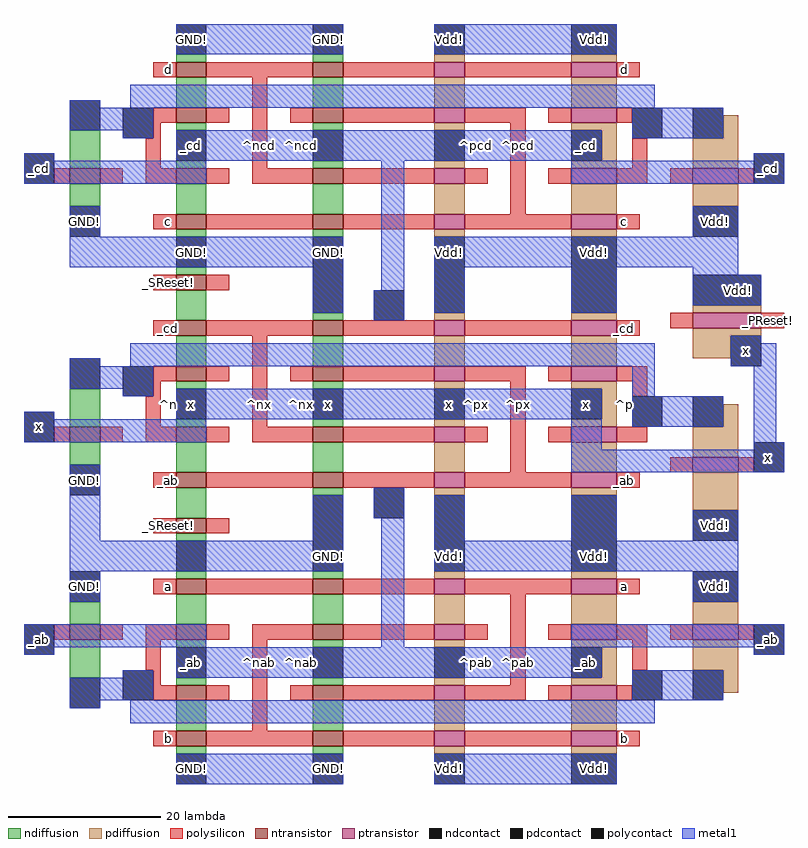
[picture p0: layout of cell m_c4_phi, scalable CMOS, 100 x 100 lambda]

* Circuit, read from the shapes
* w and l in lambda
.subckt m_c4_phi GND! Vdd! _PReset! _SReset! _ab _cd a b c d x
M1 GND! _ab n1 VSUBS nfet w=4 l=2
M2 n2 x GND! VSUBS nfet w=4 l=2
M3 n3 _cd GND! VSUBS nfet w=4 l=2
M4 n4 b GND! VSUBS nfet w=4 l=2
M5 _ab n1 n4 VSUBS nfet w=4 l=2
M6 n5 n1 _ab VSUBS nfet w=4 l=2
M7 GND! a n5 VSUBS nfet w=4 l=2
M8 n6 _SReset! GND! VSUBS nfet w=4 l=2
M9 n7 _ab n6 VSUBS nfet w=4 l=2
M10 x n2 n7 VSUBS nfet w=4 l=2
M11 n8 n2 x VSUBS nfet w=4 l=2
M12 n9 _cd n8 VSUBS nfet w=4 l=2
M13 GND! _SReset! n9 VSUBS nfet w=4 l=2
M14 n10 c GND! VSUBS nfet w=4 l=2
M15 _cd n3 n10 VSUBS nfet w=4 l=2
M16 n11 n3 _cd VSUBS nfet w=4 l=2
M17 GND! d n11 VSUBS nfet w=4 l=2
M18 n12 b GND! VSUBS nfet w=4 l=2
M19 _ab a n12 VSUBS nfet w=4 l=2
M20 n13 b _ab VSUBS nfet w=4 l=2
M21 GND! a n13 VSUBS nfet w=4 l=2
M22 n14 _ab GND! VSUBS nfet w=4 l=2
M23 x _cd n14 VSUBS nfet w=4 l=2
M24 n15 _ab x VSUBS nfet w=4 l=2
M25 GND! _cd n15 VSUBS nfet w=4 l=2
M26 n16 c GND! VSUBS nfet w=4 l=2
M27 _cd d n16 VSUBS nfet w=4 l=2
M28 n17 c _cd VSUBS nfet w=4 l=2
M29 GND! d n17 VSUBS nfet w=4 l=2
M30 n18 b Vdd! NWELL pfet w=4 l=2
M31 _ab a n18 NWELL pfet w=4 l=2
M32 n19 b _ab NWELL pfet w=4 l=2
M33 Vdd! a n19 NWELL pfet w=4 l=2
M34 n20 _ab Vdd! NWELL pfet w=4 l=2
M35 x _cd n20 NWELL pfet w=4 l=2
M36 n21 _ab x NWELL pfet w=4 l=2
M37 Vdd! _cd n21 NWELL pfet w=4 l=2
M38 n22 c Vdd! NWELL pfet w=4 l=2
M39 _cd d n22 NWELL pfet w=4 l=2
M40 n23 c _cd NWELL pfet w=4 l=2
M41 Vdd! d n23 NWELL pfet w=4 l=2
M42 n24 b Vdd! NWELL pfet w=6 l=2
M43 _ab n1 n24 NWELL pfet w=6 l=2
M44 n25 n1 _ab NWELL pfet w=6 l=2
M45 Vdd! a n25 NWELL pfet w=6 l=2
M46 n26 _ab Vdd! NWELL pfet w=6 l=2
M47 x n2 n26 NWELL pfet w=6 l=2
M48 n27 n2 x NWELL pfet w=6 l=2
M49 Vdd! _cd n27 NWELL pfet w=6 l=2
M50 n28 c Vdd! NWELL pfet w=6 l=2
M51 _cd n3 n28 NWELL pfet w=6 l=2
M52 n29 n3 _cd NWELL pfet w=6 l=2
M53 Vdd! d n29 NWELL pfet w=6 l=2
M54 Vdd! _ab n1 NWELL pfet w=6 l=2
M55 n2 x Vdd! NWELL pfet w=6 l=2
M56 Vdd! _PReset! x NWELL pfet w=9 l=2
M57 n3 _cd Vdd! NWELL pfet w=6 l=2
.ends

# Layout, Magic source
magic
tech scmos
<< ndiffusion >>
rect 11 138 15 139
rect 29 138 33 139
rect 11 132 15 136
rect -3 124 1 129
rect 11 129 15 130
rect 11 124 15 125
rect 29 132 33 136
rect 29 129 33 130
rect 29 124 33 125
rect -3 119 1 122
rect 11 118 15 122
rect 29 118 33 122
rect 11 115 15 116
rect 11 110 15 111
rect 29 115 33 116
rect 11 104 15 108
rect 29 104 33 105
rect 11 98 15 102
rect -3 90 1 95
rect 11 95 15 96
rect 11 90 15 91
rect 29 98 33 102
rect 29 95 33 96
rect 29 90 33 91
rect -3 85 1 88
rect 11 84 15 88
rect 29 84 33 88
rect 11 78 15 82
rect 29 81 33 82
rect 11 75 15 76
rect 11 70 15 71
rect 29 70 33 71
rect -3 64 1 67
rect 11 64 15 68
rect 29 64 33 68
rect -3 57 1 62
rect 11 61 15 62
rect 11 56 15 57
rect 11 50 15 54
rect 29 61 33 62
rect 29 56 33 57
rect 29 50 33 54
rect 11 47 15 48
rect 29 47 33 48
<< pdiffusion >>
rect 45 138 49 139
rect 63 138 69 139
rect 45 132 49 136
rect 63 132 69 136
rect 45 129 49 130
rect 45 124 49 125
rect 45 118 49 122
rect 63 129 69 130
rect 67 125 69 129
rect 63 124 69 125
rect 83 128 85 131
rect 79 124 85 128
rect 63 118 69 122
rect 79 119 85 122
rect 45 115 49 116
rect 45 104 49 105
rect 63 115 69 116
rect 79 105 88 106
rect 63 104 69 105
rect 79 102 88 103
rect 45 98 49 102
rect 63 98 69 102
rect 79 99 84 102
rect 45 95 49 96
rect 45 90 49 91
rect 45 84 49 88
rect 63 95 69 96
rect 67 91 69 95
rect 63 90 69 91
rect 83 90 85 93
rect 63 84 69 88
rect 79 86 85 90
rect 45 81 49 82
rect 45 70 49 71
rect 63 81 69 82
rect 79 79 85 84
rect 63 70 69 71
rect 45 64 49 68
rect 45 61 49 62
rect 45 56 49 57
rect 63 64 69 68
rect 79 64 85 67
rect 63 61 69 62
rect 67 57 69 61
rect 63 56 69 57
rect 79 58 85 62
rect 83 55 85 58
rect 45 50 49 54
rect 63 50 69 54
rect 45 47 49 48
rect 63 47 69 48
<< ntransistor >>
rect 11 136 15 138
rect 29 136 33 138
rect 11 130 15 132
rect 29 130 33 132
rect -3 122 1 124
rect 11 122 15 124
rect 29 122 33 124
rect 11 116 15 118
rect 29 116 33 118
rect 11 108 15 110
rect 11 102 15 104
rect 29 102 33 104
rect 11 96 15 98
rect 29 96 33 98
rect -3 88 1 90
rect 11 88 15 90
rect 29 88 33 90
rect 11 82 15 84
rect 29 82 33 84
rect 11 76 15 78
rect 11 68 15 70
rect 29 68 33 70
rect -3 62 1 64
rect 11 62 15 64
rect 29 62 33 64
rect 11 54 15 56
rect 29 54 33 56
rect 11 48 15 50
rect 29 48 33 50
<< ptransistor >>
rect 45 136 49 138
rect 63 136 69 138
rect 45 130 49 132
rect 63 130 69 132
rect 45 122 49 124
rect 63 122 69 124
rect 79 122 85 124
rect 45 116 49 118
rect 63 116 69 118
rect 45 102 49 104
rect 63 102 69 104
rect 79 103 88 105
rect 45 96 49 98
rect 63 96 69 98
rect 45 88 49 90
rect 63 88 69 90
rect 79 84 85 86
rect 45 82 49 84
rect 63 82 69 84
rect 45 68 49 70
rect 63 68 69 70
rect 45 62 49 64
rect 63 62 69 64
rect 79 62 85 64
rect 45 54 49 56
rect 63 54 69 56
rect 45 48 49 50
rect 63 48 69 50
<< polysilicon >>
rect 8 136 11 138
rect 15 136 29 138
rect 33 136 45 138
rect 49 136 63 138
rect 69 136 72 138
rect 8 130 11 132
rect 15 130 18 132
rect 8 128 9 130
rect 7 124 9 128
rect 21 124 23 136
rect 26 130 29 132
rect 33 130 45 132
rect 49 130 57 132
rect 60 130 63 132
rect 69 130 71 132
rect -5 122 -3 124
rect 1 122 4 124
rect 7 122 11 124
rect 15 122 18 124
rect 21 122 29 124
rect 33 122 45 124
rect 49 122 52 124
rect 55 118 57 130
rect 71 124 73 128
rect 60 122 63 124
rect 69 122 73 124
rect 76 122 79 124
rect 85 122 87 124
rect 8 116 11 118
rect 15 116 29 118
rect 33 116 45 118
rect 49 116 63 118
rect 69 116 72 118
rect 8 108 11 110
rect 15 108 18 110
rect 8 102 11 104
rect 15 102 29 104
rect 33 102 45 104
rect 49 102 63 104
rect 69 102 72 104
rect 76 103 79 105
rect 88 103 91 105
rect 8 96 11 98
rect 15 96 18 98
rect 8 94 9 96
rect 7 90 9 94
rect 21 90 23 102
rect 26 96 29 98
rect 33 96 45 98
rect 49 96 57 98
rect 60 96 63 98
rect 69 96 73 98
rect -5 88 -3 90
rect 1 88 4 90
rect 7 88 11 90
rect 15 88 18 90
rect 21 88 29 90
rect 33 88 45 90
rect 49 88 52 90
rect 55 84 57 96
rect 71 94 73 96
rect 60 88 63 90
rect 69 88 73 90
rect 76 84 79 86
rect 85 84 87 86
rect 8 82 11 84
rect 15 82 29 84
rect 33 82 45 84
rect 49 82 63 84
rect 69 82 72 84
rect 8 76 11 78
rect 15 76 18 78
rect 8 68 11 70
rect 15 68 29 70
rect 33 68 45 70
rect 49 68 63 70
rect 69 68 72 70
rect -5 62 -3 64
rect 1 62 4 64
rect 7 62 11 64
rect 15 62 18 64
rect 21 62 29 64
rect 33 62 45 64
rect 49 62 52 64
rect 7 58 9 62
rect 8 56 9 58
rect 8 54 11 56
rect 15 54 18 56
rect 21 50 23 62
rect 55 56 57 68
rect 60 62 63 64
rect 69 62 73 64
rect 76 62 79 64
rect 85 62 87 64
rect 71 58 73 62
rect 26 54 29 56
rect 33 54 45 56
rect 49 54 57 56
rect 60 54 63 56
rect 69 54 71 56
rect 8 48 11 50
rect 15 48 29 50
rect 33 48 45 50
rect 49 48 63 50
rect 69 48 72 50
<< ndcontact >>
rect 11 139 15 143
rect 29 139 33 143
rect -3 129 1 133
rect 11 125 15 129
rect 29 125 33 129
rect -3 115 1 119
rect 11 111 15 115
rect 29 105 33 115
rect -3 95 1 99
rect 11 91 15 95
rect 29 91 33 95
rect -3 81 1 85
rect 11 71 15 75
rect -3 67 1 71
rect 29 71 33 81
rect -3 53 1 57
rect 11 57 15 61
rect 29 57 33 61
rect 11 43 15 47
rect 29 43 33 47
<< pdcontact >>
rect 45 139 49 143
rect 63 139 69 143
rect 45 125 49 129
rect 63 125 67 129
rect 79 128 83 132
rect 45 105 49 115
rect 79 115 85 119
rect 63 105 69 115
rect 79 106 88 110
rect 84 98 88 102
rect 45 91 49 95
rect 63 91 67 95
rect 79 90 83 94
rect 45 71 49 81
rect 63 71 69 81
rect 79 75 85 79
rect 45 57 49 61
rect 79 67 85 71
rect 63 57 67 61
rect 79 54 83 58
rect 45 43 49 47
rect 63 43 69 47
<< polycontact >>
rect -9 122 -5 126
rect 4 128 8 132
rect 71 128 75 132
rect 87 122 91 126
rect 37 104 41 108
rect -9 88 -5 92
rect 4 94 8 98
rect 71 90 75 94
rect 87 84 91 88
rect 37 78 41 82
rect -9 60 -5 64
rect 4 54 8 58
rect 87 60 91 64
rect 71 54 75 58
<< metal1 >>
rect 11 139 33 143
rect 45 139 69 143
rect -3 132 1 133
rect 5 132 74 135
rect -3 129 8 132
rect 4 128 8 129
rect -9 125 -5 126
rect 11 125 67 129
rect 71 128 83 132
rect 87 125 91 126
rect -9 122 15 125
rect -3 115 1 119
rect -3 111 33 115
rect 29 105 33 111
rect 38 108 41 125
rect 63 122 91 125
rect 79 115 85 119
rect 37 104 41 108
rect 45 111 85 115
rect 45 105 49 111
rect 63 105 69 111
rect 79 110 85 111
rect 79 106 88 110
rect 84 101 88 102
rect -3 98 1 99
rect 5 98 74 101
rect 84 98 90 101
rect -3 95 8 98
rect 4 94 8 95
rect -9 91 -5 92
rect 11 91 67 95
rect -9 88 15 91
rect 63 87 67 91
rect 71 94 74 98
rect 71 90 83 94
rect 87 88 90 98
rect 87 87 91 88
rect -3 75 1 85
rect 63 84 91 87
rect 29 75 33 81
rect 37 78 41 82
rect -3 71 33 75
rect -3 67 1 71
rect -9 61 15 64
rect 38 61 41 78
rect 45 75 49 81
rect 63 75 69 81
rect 79 75 85 79
rect 45 71 85 75
rect 79 67 85 71
rect 63 61 91 64
rect -9 60 -5 61
rect 4 57 8 58
rect 11 57 67 61
rect 87 60 91 61
rect -3 54 8 57
rect 71 54 83 58
rect -3 53 1 54
rect 5 51 74 54
rect 11 43 33 47
rect 45 43 69 47
<< labels >>
rlabel polysilicon 70 83 70 83 1 _ab
rlabel polysilicon 70 103 70 103 1 _cd
rlabel polysilicon 70 69 70 69 5 a
rlabel polysilicon 70 49 70 49 5 b
rlabel polysilicon 70 117 70 117 1 c
rlabel polysilicon 70 137 70 137 1 d
rlabel polysilicon 10 109 10 109 1 _SReset!
rlabel polysilicon 10 77 10 77 1 _SReset!
rlabel polysilicon 10 83 10 83 1 _ab
rlabel polysilicon 10 103 10 103 1 _cd
rlabel polysilicon 10 69 10 69 5 a
rlabel polysilicon 10 49 10 49 5 b
rlabel polysilicon 10 117 10 117 1 c
rlabel polysilicon 10 137 10 137 1 d
rlabel space 49 47 52 71 7 ^pab
rlabel space 54 48 58 70 7 ^pab
rlabel space 54 82 58 104 7 ^px
rlabel space 49 81 52 105 7 ^px
rlabel space 49 115 52 139 7 ^pcd
rlabel space 54 116 58 138 7 ^pcd
rlabel space 26 115 29 139 3 ^ncd
rlabel space 26 81 29 105 3 ^nx
rlabel space 26 47 29 71 3 ^nab
rlabel space 20 48 24 70 3 ^nab
rlabel space 20 116 24 138 3 ^ncd
rlabel space 20 82 24 104 3 ^nx
rlabel polysilicon 89 104 89 104 7 _PReset!
rlabel space -10 42 30 144 7 ^n
rlabel space 48 42 92 144 3 ^p
rlabel pdcontact 65 93 65 93 1 x
rlabel pdcontact 66 45 66 45 5 Vdd!
rlabel pdcontact 65 59 65 59 5 _ab
rlabel pdcontact 66 141 66 141 1 Vdd!
rlabel pdcontact 65 127 65 127 1 _cd
rlabel pdcontact 66 73 66 73 1 Vdd!
rlabel pdcontact 66 113 66 113 1 Vdd!
rlabel ndcontact 31 93 31 93 1 x
rlabel pdcontact 47 93 47 93 1 x
rlabel ndcontact 31 45 31 45 5 GND!
rlabel pdcontact 47 45 47 45 5 Vdd!
rlabel ndcontact 31 59 31 59 5 _ab
rlabel pdcontact 47 59 47 59 5 _ab
rlabel ndcontact 31 73 31 73 1 GND!
rlabel ndcontact 31 141 31 141 1 GND!
rlabel pdcontact 47 141 47 141 1 Vdd!
rlabel ndcontact 31 127 31 127 1 _cd
rlabel pdcontact 47 127 47 127 1 _cd
rlabel ndcontact 31 113 31 113 1 GND!
rlabel pdcontact 47 73 47 73 1 Vdd!
rlabel pdcontact 47 113 47 113 1 Vdd!
rlabel ndcontact 13 45 13 45 5 GND!
rlabel ndcontact 13 141 13 141 1 GND!
rlabel ndcontact 13 113 13 113 1 GND!
rlabel ndcontact -1 69 -1 69 5 GND!
rlabel ndcontact -1 117 -1 117 1 GND!
rlabel ndcontact -1 83 -1 83 1 GND!
rlabel polycontact -7 90 -7 90 1 x
rlabel polycontact -7 62 -7 62 5 _ab
rlabel polycontact -7 124 -7 124 1 _cd
rlabel pdcontact 82 117 82 117 1 Vdd!
rlabel pdcontact 82 69 82 69 1 Vdd!
rlabel pdcontact 82 77 82 77 1 Vdd!
rlabel pdcontact 85 108 85 108 1 Vdd!
rlabel pdcontact 86 100 86 100 1 x
rlabel polycontact 89 86 89 86 1 x
rlabel polycontact 89 62 89 62 5 _ab
rlabel polycontact 89 124 89 124 1 _cd
rlabel ndcontact 13 127 13 127 1 _cd
rlabel ndcontact 13 93 13 93 1 x
rlabel ndcontact 13 59 13 59 5 _ab
<< end >>
